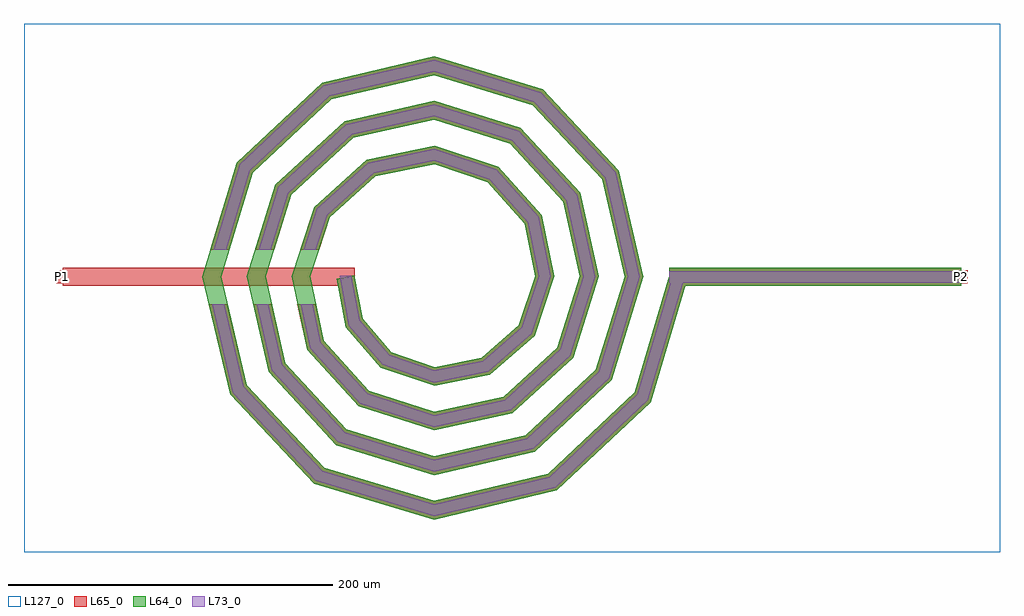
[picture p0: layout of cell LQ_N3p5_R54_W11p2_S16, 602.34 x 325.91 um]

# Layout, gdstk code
import gdstk
lib = gdstk.Library(unit=1e-6, precision=1e-09)
def R(c, l, rs):  # rectangles x0, y0, x1, y1
    for r in rs: c.add(gdstk.rectangle(r[:2], r[2:], *l))
def P(c, l, *ps):  # polygons
    for p in ps: c.add(gdstk.Polygon(p, *l))
L64_0 = (64, 0)
L65_0 = (65, 0)
L73_0 = (73, 0)
L127_0 = (127, 0)

lq_n3p5_r54_w11p2_s16 = lib.new_cell('LQ_N3p5_R54_W11p2_S16')
R(lq_n3p5_r54_w11p2_s16, L64_0, [(145.315,-5.6,325.315,5.6)])
P(lq_n3p5_r54_w11p2_s16, L64_0, [(-44.062,-25.942),(-26.349,-46.473),(0.403,-55.713),(29.339,-50.04),(52.406,-29.824),(62.589,0.362),(56.014,32.744),(33.293,58.344),(0.329,69.466),(-36.156,61.984),(-64.285,36.756),(-76.343,0.302),(-67.953,-39.572),(-40.216,-70.228),(0.278,-83.22),(42.991,-73.92),(76.173,-43.673),(90.097,0.258),(79.886,46.413),(47.127,82.12),(0.241,96.975),(-49.838,85.85),(-88.069,50.58),(-103.852,0.226),(-91.813,-53.264),(-54.031,-94.018),(0.213,-110.73),(56.692,-97.776),(99.968,-57.48),(117.608,0.201),(103.738,60.121),(60.929,105.919),(0.19,124.486),(-63.551,109.7),(-111.871,64.376),(-131.364,0.181),(-115.661,-66.982),(-67.823,-117.823),(0.172,-138.242),(70.414,-121.621),(123.775,-71.269),(145.549,1.603),(156.281,-1.603),(133.646,-77.353),(75.916,-131.829),(0.172,-149.832),(-73.921,-127.685),(-125.876,-72.469),(-142.954,0.181),(-121.724,70.49),(-69.022,119.924),(0.19,136.075),(67.059,115.762),(113.972,65.574),(129.197,0.201),(109.8,-63.629),(62.125,-108.021),(0.213,-122.318),(-60.201,-103.837),(-102.07,-58.675),(-115.44,0.226),(-97.873,56.773),(-55.223,96.12),(0.241,108.561),(53.348,91.908),(90.171,51.769),(101.682,0.258),(85.941,-49.924),(48.313,-84.224),(0.278,-94.803),(-46.503,-79.973),(-78.277,-44.854),(-87.924,0.302),(-74.003,43.084),(-41.392,72.333),(0.329,81.045),(39.67,68.031),(66.39,37.926),(74.165,0.362),(62.055,-36.26),(34.453,-60.45),(0.403,-67.284),(-32.858,-56.075),(-54.515,-30.972),(-60.125,-1.031),(-49.116,1.031)])
R(lq_n3p5_r54_w11p2_s16, L65_0, [(-229.021,-5.6,-49.021,5.6), (145.315,-5.6,325.315,5.6), (-233.021,-4,-225.021,4), (321.315,-4,329.315,4)])
P(lq_n3p5_r54_w11p2_s16, L65_0, [(-115.661,-66.982),(-67.823,-117.823),(0.172,-138.242),(70.414,-121.621),(123.775,-71.269),(145.549,1.603),(156.281,-1.603),(133.646,-77.353),(75.916,-131.829),(0.172,-149.832),(-73.921,-127.685),(-125.876,-72.469),(-138.962,-16.8),(-127.457,-16.8)],
  [(-91.813,-53.264),(-54.031,-94.018),(0.213,-110.73),(56.692,-97.776),(99.968,-57.48),(117.608,0.201),(103.738,60.121),(60.929,105.919),(0.19,124.486),(-63.551,109.7),(-111.871,64.376),(-126.236,16.8),(-137.936,16.8),(-121.724,70.49),(-69.022,119.924),(0.19,136.075),(67.059,115.762),(113.972,65.574),(129.197,0.201),(109.8,-63.629),(62.125,-108.021),(0.213,-122.318),(-60.201,-103.837),(-102.07,-58.675),(-111.575,-16.8),(-100.09,-16.8)],
  [(-67.953,-39.572),(-40.216,-70.228),(0.278,-83.22),(42.991,-73.92),(76.173,-43.673),(90.097,0.259),(79.886,46.413),(47.127,82.121),(0.241,96.975),(-49.838,85.85),(-88.069,50.58),(-98.563,16.8),(-110.291,16.8),(-97.873,56.773),(-55.223,96.12),(0.241,108.561),(53.348,91.908),(90.172,51.769),(101.682,0.259),(85.941,-49.924),(48.313,-84.224),(0.278,-94.803),(-46.503,-79.973),(-78.277,-44.854),(-84.271,-16.8),(-72.818,-16.8)],
  [(-26.349,-46.474),(0.403,-55.713),(29.339,-50.04),(52.406,-29.824),(62.589,0.362),(56.014,32.744),(33.293,58.344),(0.329,69.466),(-36.156,61.984),(-64.285,36.756),(-70.778,16.8),(-82.556,16.8),(-74.004,43.084),(-41.392,72.333),(0.329,81.045),(39.67,68.031),(66.39,37.926),(74.165,0.362),(62.055,-36.26),(34.453,-60.45),(0.403,-67.285),(-32.858,-56.075),(-54.515,-30.972),(-60.125,-1.031),(-49.117,1.031),(-44.062,-25.942)])
R(lq_n3p5_r54_w11p2_s16, L73_0, [(145.315,-3.6,325.315,3.6)])
P(lq_n3p5_r54_w11p2_s16, L73_0, [(-117.485,-67.962),(-68.912,-119.584),(0.111,-140.311),(71.396,-123.444),(125.538,-72.355),(147.466,1.031),(154.364,-1.031),(131.884,-76.267),(74.933,-130.006),(0.111,-147.762),(-72.832,-125.924),(-124.052,-71.49),(-136.908,-16.8),(-129.511,-16.8)],
  [(-93.645,-54.23),(-55.133,-95.771),(0.137,-112.799),(57.662,-99.606),(101.724,-58.578),(119.677,0.129),(105.566,61.095),(62.024,107.677),(0.122,126.555),(-64.528,111.526),(-113.63,65.468),(-128.325,16.8),(-135.847,16.8),(-119.965,69.398),(-68.045,118.098),(0.122,134.006),(65.964,114.005),(112.145,64.6),(127.127,0.129),(108.044,-62.531),(61.155,-106.191),(0.137,-120.249),(-59.099,-102.083),(-100.239,-57.708),(-109.524,-16.8),(-102.141,-16.8)],
  [(-69.797,-40.515),(-41.339,-71.968),(0.179,-85.288),(43.942,-75.76),(77.918,-44.789),(92.166,0.166),(81.722,47.37),(48.238,83.868),(0.155,99.044),(-50.8,87.684),(-89.819,51.686),(-100.657,16.8),(-108.197,16.8),(-96.122,55.667),(-54.261,94.286),(0.155,106.492),(52.237,90.16),(88.335,50.813),(99.614,0.166),(84.197,-48.808),(47.363,-82.384),(0.179,-92.735),(-45.38,-78.233),(-76.434,-43.911),(-82.226,-16.8),(-74.863,-16.8)],
  [(-27.511,-48.188),(0.259,-57.78),(30.252,-51.899),(54.129,-30.973),(64.656,0.233),(57.867,33.67),(34.432,60.074),(0.212,71.533),(-37.091,63.832),(-66.02,37.886),(-72.881,16.8),(-80.453,16.8),(-72.268,41.954),(-40.457,70.485),(0.212,78.977),(38.531,66.301),(64.537,37),(72.098,0.233),(60.332,-35.111),(33.54,-58.591),(0.259,-65.218),(-31.695,-54.36),(-52.648,-30.074),(-58.159,0.663),(-51.082,0.663),(-45.929,-26.84)])
R(lq_n3p5_r54_w11p2_s16, L127_0, [(-253.021,-169.832,349.315,156.075)])
lq_n3p5_r54_w11p2_s16.add(gdstk.Label('P2', (325.315,0), layer=65, texttype=0))
lq_n3p5_r54_w11p2_s16.add(gdstk.Label('P1', (-229.021,0), layer=65, texttype=0))
lq_n3p5_r54_w11p2_s16.add(gdstk.Label('P2', (329.315,0), layer=145, texttype=0))
lq_n3p5_r54_w11p2_s16.add(gdstk.Label('P1', (-233.021,0), layer=145, texttype=0))

lib.write_gds('LQ_N3p5_R54_W11p2_S16.gds')
